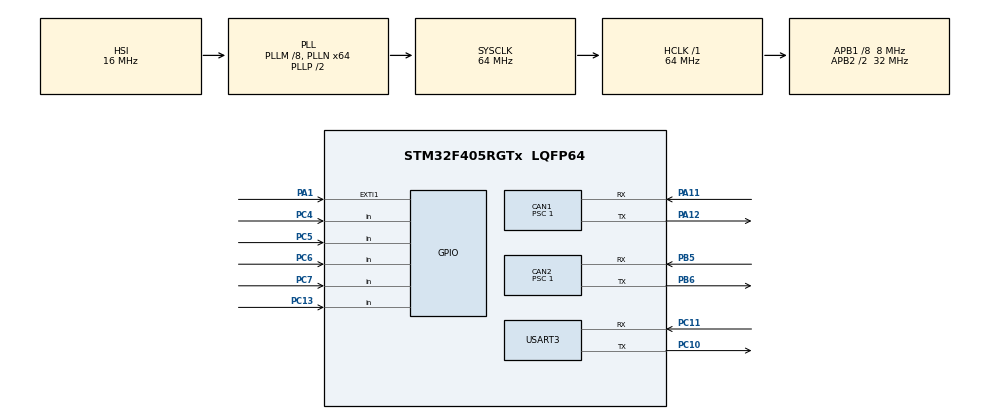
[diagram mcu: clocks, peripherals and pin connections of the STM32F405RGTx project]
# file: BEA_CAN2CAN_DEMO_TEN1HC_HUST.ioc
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CAN1.BS1=CAN_BS1_11TQ
CAN1.BS2=CAN_BS2_4TQ
CAN1.CalculateBaudRate=500000
CAN1.CalculateTimeBit=2000
CAN1.CalculateTimeQuantum=125.0
CAN1.Prescaler=1
CAN1.SJW=CAN_SJW_2TQ
CAN2.BS1=CAN_BS1_11TQ
CAN2.BS2=CAN_BS2_4TQ
CAN2.CalculateBaudRate=500000
CAN2.CalculateTimeBit=2000
CAN2.CalculateTimeQuantum=125.0
CAN2.Prescaler=1
CAN2.SJW=CAN_SJW_2TQ
Mcu.Family=STM32F4
Mcu.Name=STM32F405RGTx
Mcu.Package=LQFP64
NVIC.CAN1_RX0_IRQn=true\:2\:0\:true\:false\:true\:true\:true\:true
NVIC.CAN2_RX0_IRQn=true\:2\:0\:true\:false\:true\:true\:true\:true
NVIC.EXTI1_IRQn=true\:3\:0\:true\:false\:true\:true\:true\:true
NVIC.PriorityGroup=NVIC_PRIORITYGROUP_4
NVIC.USART3_IRQn=true\:1\:0\:true\:false\:true\:true\:true\:true
PA1.GPIO_ModeDefaultEXTI=GPIO_MODE_IT_FALLING
PA1.GPIO_PuPd=GPIO_PULLUP
PA1.Signal=GPXTI1
PA11.Mode=CAN_Activate
PA11.Signal=CAN1_RX
PA12.Mode=CAN_Activate
PA12.Signal=CAN1_TX
PB5.Mode=CAN_Activate
PB5.Signal=CAN2_RX
PB6.Mode=CAN_Activate
PB6.Signal=CAN2_TX
PC10.Mode=Asynchronous
PC10.Signal=USART3_TX
PC11.Mode=Asynchronous
PC11.Signal=USART3_RX
PC13-ANTI_TAMP.GPIO_PuPd=GPIO_PULLUP
PC13-ANTI_TAMP.Signal=GPIO_Input
PC4.GPIO_PuPd=GPIO_PULLUP
PC4.Signal=GPIO_Input
PC5.GPIO_PuPd=GPIO_PULLUP
PC5.Signal=GPIO_Input
PC6.GPIO_PuPd=GPIO_PULLUP
PC6.Signal=GPIO_Input
PC7.GPIO_PuPd=GPIO_PULLUP
PC7.Signal=GPIO_Input
PH0-OSC_IN.Mode=HSE-External-Oscillator
PH0-OSC_IN.Signal=RCC_OSC_IN
PH1-OSC_OUT.Mode=HSE-External-Oscillator
PH1-OSC_OUT.Signal=RCC_OSC_OUT
ProjectManager.HeapSize=0x200
ProjectManager.StackSize=0x400
ProjectManager.TargetToolchain=STM32CubeIDE
RCC.48MHZClocksFreq_Value=32000000
RCC.AHBFreq_Value=64000000
RCC.APB1CLKDivider=RCC_HCLK_DIV8
RCC.APB1Freq_Value=8000000
RCC.APB1TimFreq_Value=16000000
RCC.APB2CLKDivider=RCC_HCLK_DIV2
RCC.APB2Freq_Value=32000000
RCC.APB2TimFreq_Value=64000000
RCC.CortexFreq_Value=64000000
RCC.HCLKFreq_Value=64000000
RCC.HSE_VALUE=8000000
RCC.HSI_VALUE=16000000
RCC.LSE_VALUE=32768
RCC.PLLM=8
RCC.PLLN=64
RCC.SYSCLKFreq_VALUE=64000000
RCC.SYSCLKSource=RCC_SYSCLKSOURCE_PLLCLK
RCC.VCOOutputFreq_Value=128000000
USART3.VirtualMode=VM_ASYNC
board=custom

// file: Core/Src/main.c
/* USER CODE BEGIN Header */
/**
  ******************************************************************************
  * @file           : main.c
  * @brief          : Main program body
  ******************************************************************************
  * @attention
  *
  * Copyright (c) 2023 STMicroelectronics.
  * All rights reserved.
  *
  * This software is licensed under terms that can be found in the LICENSE file
  * in the root directory of this software component.
  * If no LICENSE file comes with this software, it is provided AS-IS.
  *
  ******************************************************************************
  */
/* USER CODE END Header */
#include "main.h"

UART_HandleTypeDef huart3;

/* USER CODE BEGIN PV */
uint8_t uart3_receive;

CAN_HandleTypeDef hcan1;
CAN_HandleTypeDef hcan2;
CAN_TxHeaderTypeDef CAN1_pHeader;
CAN_RxHeaderTypeDef CAN1_pHeaderRx;
CAN_FilterTypeDef CAN1_sFilterConfig;
CAN_TxHeaderTypeDef CAN2_pHeader;
CAN_RxHeaderTypeDef CAN2_pHeaderRx;
CAN_FilterTypeDef CAN2_sFilterConfig;
uint32_t CAN1_pTxMailbox;
uint32_t CAN2_pTxMailbox;

uint16_t NumBytesReq = 0;
uint8_t  REQ_BUFFER  [4096];
uint8_t  REQ_1BYTE_DATA;

uint8_t CAN1_DATA_TX[8] = {0x00,0x00,0x00,0x00,0x00,0x00,0x00,0x00};
uint8_t CAN1_DATA_RX[8] = {0x00,0x00,0x00,0x00,0x00,0x00,0x00,0x00};
uint8_t CAN2_DATA_TX[8] = {0x00,0x00,0x00,0x00,0x00,0x00,0x00,0x00};
uint8_t CAN2_DATA_RX[8] = {0x00,0x00,0x00,0x00,0x00,0x00,0x00,0x00};

unsigned int TimeStamp;
// maximum characters send out via UART is 30
char bufsend[30]="XXX: D1 D2 D3 D4 D5 D6 D7 D8  ";

uint8_t MessageCounter = 0;
uint8_t FlagForBtn = 0;
uint8_t flagCAN2Rx = 0;
/* USER CODE END PV */

void SystemClock_Config(void);
static void MX_GPIO_Init(void);
static void MX_CAN1_Init(void);
static void MX_CAN2_Init(void);
static void MX_USART3_UART_Init(void);
/* USER CODE BEGIN PFP */
void MX_CAN1_Setup();
void MX_CAN2_Setup();
void USART3_SendString(uint8_t *ch);
void PrintCANLog(uint16_t CANID, uint8_t * CAN_Frame);
void delay(uint16_t delay);
/* USER CODE END PFP */

/* USER CODE BEGIN 0 */
uint8_t calc_SAE_J1850(uint8_t data[], uint8_t crc_len, uint8_t check);
void CAN_Tx(CAN_HandleTypeDef *hcan, uint8_t *data_rx, uint8_t *data_tx);
void HAL_CAN_RxFifo0MsgPendingCallback(CAN_HandleTypeDef *hcan);
void HAL_GPIO_EXTI_Callback(uint16_t GPIO_Pin);
/* USER CODE END 0 */
int main(void)
{

  /* USER CODE BEGIN 1 */
	//uint16_t i,j = 0;
	//uint16_t Consecutive_Cntr = 0;
  /* USER CODE END 1 */

  /* MCU Configuration--------------------------------------------------------*/

  /* Reset of all peripherals, Initializes the Flash interface and the Systick. */
  HAL_Init();

  /* Configure the system clock */
  SystemClock_Config();

  /* Initialize all configured peripherals */
  MX_GPIO_Init();
  MX_CAN1_Init();
  MX_CAN2_Init();
  MX_USART3_UART_Init();
  /* USER CODE BEGIN 2 */
  MX_CAN1_Setup();
  MX_CAN2_Setup();
  __HAL_UART_ENABLE_IT(&huart3, UART_IT_RXNE);
  /* USER CODE END 2 */

  /* Infinite loop */
  /* USER CODE BEGIN WHILE */
  // Example Function to print can message via uart
  while (1)
  {
    /* USER CODE END WHILE */

    /* USER CODE BEGIN 3 */
	CAN_Tx(&hcan2, CAN2_DATA_RX, CAN2_DATA_TX);
	delay(2000);
	CAN_Tx(&hcan1, CAN1_DATA_RX, CAN1_DATA_TX);
	delay(1990);
	MessageCounter = MessageCounter + 1;
  }

  memset(&REQ_BUFFER,0x00,4096);
  NumBytesReq = 0;

  /* USER CODE END 3 */
}

void SystemClock_Config(void)
{
  RCC_OscInitTypeDef RCC_OscInitStruct = {0};
  RCC_ClkInitTypeDef RCC_ClkInitStruct = {0};

  /** Configure the main internal regulator output voltage
  */
  __HAL_RCC_PWR_CLK_ENABLE();
  __HAL_PWR_VOLTAGESCALING_CONFIG(PWR_REGULATOR_VOLTAGE_SCALE1);

  /** Initializes the RCC Oscillators according to the specified parameters
  * in the RCC_OscInitTypeDef structure.
  */
  RCC_OscInitStruct.OscillatorType = RCC_OSCILLATORTYPE_HSI;
  RCC_OscInitStruct.HSIState = RCC_HSI_ON;
  RCC_OscInitStruct.HSICalibrationValue = RCC_HSICALIBRATION_DEFAULT;
  RCC_OscInitStruct.PLL.PLLState = RCC_PLL_ON;
  RCC_OscInitStruct.PLL.PLLSource = RCC_PLLSOURCE_HSI;
  RCC_OscInitStruct.PLL.PLLM = 8;
  RCC_OscInitStruct.PLL.PLLN = 64;
  RCC_OscInitStruct.PLL.PLLP = RCC_PLLP_DIV2;
  RCC_OscInitStruct.PLL.PLLQ = 4;
  if (HAL_RCC_OscConfig(&RCC_OscInitStruct) != HAL_OK)
  {
    Error_Handler();
  }

  /** Initializes the CPU, AHB and APB buses clocks
  */
  RCC_ClkInitStruct.ClockType = RCC_CLOCKTYPE_HCLK|RCC_CLOCKTYPE_SYSCLK
                              |RCC_CLOCKTYPE_PCLK1|RCC_CLOCKTYPE_PCLK2;
  RCC_ClkInitStruct.SYSCLKSource = RCC_SYSCLKSOURCE_PLLCLK;
  RCC_ClkInitStruct.AHBCLKDivider = RCC_SYSCLK_DIV1;
  RCC_ClkInitStruct.APB1CLKDivider = RCC_HCLK_DIV8;
  RCC_ClkInitStruct.APB2CLKDivider = RCC_HCLK_DIV2;

  if (HAL_RCC_ClockConfig(&RCC_ClkInitStruct, FLASH_LATENCY_2) != HAL_OK)
  {
    Error_Handler();
  }
}

static void MX_CAN1_Init(void)
{

  /* USER CODE BEGIN CAN1_Init 0 */
	CAN1_pHeader.StdId = 0x12;
	CAN1_pHeader.DLC = 8;
	CAN1_pHeader.IDE = CAN_ID_STD;
	CAN1_pHeader.RTR = CAN_RTR_DATA;
  /* USER CODE END CAN1_Init 0 */

  hcan1.Instance = CAN1;
  hcan1.Init.Prescaler = 1;
  hcan1.Init.Mode = CAN_MODE_NORMAL;
  hcan1.Init.SyncJumpWidth = CAN_SJW_2TQ;
  hcan1.Init.TimeSeg1 = CAN_BS1_11TQ;
  hcan1.Init.TimeSeg2 = CAN_BS2_4TQ;
  hcan1.Init.TimeTriggeredMode = DISABLE;
  hcan1.Init.AutoBusOff = DISABLE;
  hcan1.Init.AutoWakeUp = DISABLE;
  hcan1.Init.AutoRetransmission = DISABLE;
  hcan1.Init.ReceiveFifoLocked = DISABLE;
  hcan1.Init.TransmitFifoPriority = DISABLE;
  if (HAL_CAN_Init(&hcan1) != HAL_OK)
  {
    Error_Handler();
  }
  /* USER CODE BEGIN CAN1_Init 2 */
  CAN1_sFilterConfig.FilterActivation = CAN_FILTER_ENABLE;
  CAN1_sFilterConfig.FilterFIFOAssignment = CAN_RX_FIFO0;
  CAN1_sFilterConfig.SlaveStartFilterBank = 13;
  CAN1_sFilterConfig.FilterBank = 8;
  CAN1_sFilterConfig.FilterMode = CAN_FILTERMODE_IDMASK;
  CAN1_sFilterConfig.FilterScale = CAN_FILTERSCALE_16BIT;
  CAN1_sFilterConfig.FilterIdHigh = 0x0A2 << 5;
  CAN1_sFilterConfig.FilterIdLow = 0;
  CAN1_sFilterConfig.FilterMaskIdHigh = 0x0A2 << 5;
  CAN1_sFilterConfig.FilterMaskIdLow = 0;
  /* USER CODE END CAN1_Init 2 */

}

static void MX_CAN2_Init(void)
{

  /* USER CODE BEGIN CAN2_Init 0 */
	CAN2_pHeader.StdId = 0xA2;
	CAN2_pHeader.DLC = 8;
	CAN2_pHeader.IDE = CAN_ID_STD;
	CAN2_pHeader.RTR = CAN_RTR_DATA;
  /* USER CODE END CAN2_Init 0 */

  hcan2.Instance = CAN2;
  hcan2.Init.Prescaler = 1;
  hcan2.Init.Mode = CAN_MODE_NORMAL;
  hcan2.Init.SyncJumpWidth = CAN_SJW_2TQ;
  hcan2.Init.TimeSeg1 = CAN_BS1_11TQ;
  hcan2.Init.TimeSeg2 = CAN_BS2_4TQ;
  hcan2.Init.TimeTriggeredMode = DISABLE;
  hcan2.Init.AutoBusOff = DISABLE;
  hcan2.Init.AutoWakeUp = DISABLE;
  hcan2.Init.AutoRetransmission = DISABLE;
  hcan2.Init.ReceiveFifoLocked = DISABLE;
  hcan2.Init.TransmitFifoPriority = DISABLE;
  if (HAL_CAN_Init(&hcan2) != HAL_OK)
  {
    Error_Handler();
  }
  /* USER CODE BEGIN CAN2_Init 2 */
  CAN2_sFilterConfig.FilterActivation = CAN_FILTER_ENABLE;
  CAN2_sFilterConfig.FilterFIFOAssignment = CAN_RX_FIFO0;
  CAN2_sFilterConfig.SlaveStartFilterBank = 13;
  CAN2_sFilterConfig.FilterBank = 19;
  CAN2_sFilterConfig.FilterMode = CAN_FILTERMODE_IDMASK;
  CAN2_sFilterConfig.FilterScale = CAN_FILTERSCALE_16BIT;
  CAN2_sFilterConfig.FilterIdHigh = 0x012 << 5;
  CAN2_sFilterConfig.FilterIdLow = 0;
  CAN2_sFilterConfig.FilterMaskIdHigh = 0x012 << 5;
  CAN2_sFilterConfig.FilterMaskIdLow = 0;
  /* USER CODE END CAN2_Init 2 */

}

static void MX_USART3_UART_Init(void)
{

  huart3.Instance = USART3;
  huart3.Init.BaudRate = 115200;
  huart3.Init.WordLength = UART_WORDLENGTH_8B;
  huart3.Init.StopBits = UART_STOPBITS_1;
  huart3.Init.Parity = UART_PARITY_NONE;
  huart3.Init.Mode = UART_MODE_TX_RX;
  huart3.Init.HwFlowCtl = UART_HWCONTROL_NONE;
  huart3.Init.OverSampling = UART_OVERSAMPLING_16;
  if (HAL_UART_Init(&huart3) != HAL_OK)
  {
    Error_Handler();
  }

}

static void MX_GPIO_Init(void)
{
  GPIO_InitTypeDef GPIO_InitStruct = {0};

  /* GPIO Ports Clock Enable */
  __HAL_RCC_GPIOC_CLK_ENABLE();
  __HAL_RCC_GPIOH_CLK_ENABLE();
  __HAL_RCC_GPIOA_CLK_ENABLE();
  __HAL_RCC_GPIOB_CLK_ENABLE();

  /*Configure GPIO pins : PC13 PC4 PC5 PC6
                           PC7 */
  GPIO_InitStruct.Pin = GPIO_PIN_13|GPIO_PIN_4|GPIO_PIN_5|GPIO_PIN_6
                          |GPIO_PIN_7;
  GPIO_InitStruct.Mode = GPIO_MODE_INPUT;
  GPIO_InitStruct.Pull = GPIO_PULLUP;
  HAL_GPIO_Init(GPIOC, &GPIO_InitStruct);

  /*Configure GPIO pin : PA1 */
  GPIO_InitStruct.Pin = GPIO_PIN_1;
  GPIO_InitStruct.Mode = GPIO_MODE_IT_FALLING;
  GPIO_InitStruct.Pull = GPIO_PULLUP;
  HAL_GPIO_Init(GPIOA, &GPIO_InitStruct);

  /* EXTI interrupt init*/
  HAL_NVIC_SetPriority(EXTI1_IRQn, 3, 0);
  HAL_NVIC_EnableIRQ(EXTI1_IRQn);

}

/* USER CODE BEGIN 4 */

void MX_CAN1_Setup()
{
	HAL_CAN_ConfigFilter(&hcan1, &CAN1_sFilterConfig);
	HAL_CAN_Start(&hcan1);
	HAL_CAN_ActivateNotification(&hcan1, CAN_IT_RX_FIFO0_MSG_PENDING);
}
void MX_CAN2_Setup()
{
	HAL_CAN_ConfigFilter(&hcan2, &CAN2_sFilterConfig);
	HAL_CAN_Start(&hcan2);
	HAL_CAN_ActivateNotification(&hcan2, CAN_IT_RX_FIFO0_MSG_PENDING);
}

void USART3_SendString(uint8_t *ch)
{
   while(*ch!=0)
   {
      HAL_UART_Transmit(&huart3, ch, 1,HAL_MAX_DELAY);
      ch++;
   }
}
void PrintCANLog(uint16_t CAN_ID, uint8_t * CAN_Frame)
{
	uint16_t loopIndx = 0;
		char bufID[3] = "   ";
		char bufDat[2] = "  ";
		char bufTime [8]="        ";

		sprintf(bufTime,"%d",TimeStamp);
		USART3_SendString((uint8_t*)bufTime);
		USART3_SendString((uint8_t*)" ");

		sprintf(bufID,"%03X",CAN_ID);
		for(loopIndx = 0; loopIndx < 3; loopIndx ++)
		{
			bufsend[loopIndx]  = bufID[loopIndx];
		}
		bufsend[3] = ':';
		bufsend[4] = ' ';

		for(loopIndx = 0; loopIndx < 8; loopIndx ++ )
		{
			sprintf(bufDat,"%02X",CAN_Frame[loopIndx]);
			bufsend[loopIndx*3 + 5] = bufDat[0];
			bufsend[loopIndx*3 + 6] = bufDat[1];
			bufsend[loopIndx*3 + 7] = ' ';
		}
		bufsend[29] = '\n';
		USART3_SendString((unsigned char*)bufsend);
}
void HAL_UART_RxCpltCallback(UART_HandleTypeDef *huart)
{
	REQ_BUFFER[NumBytesReq] = REQ_1BYTE_DATA;
	NumBytesReq++;
	//REQ_BUFFER[7] = NumBytesReq;
}
void delay(uint16_t delay)
{
	HAL_Delay(delay);
}
uint8_t calc_SAE_J1850(uint8_t data[], uint8_t crc_len, uint8_t check)
{
    uint8_t idx, crc, temp1, temp2, idy;
    crc = check;
    idx = 0;
    idy = 0;
    temp1 = 0;
    temp2 = 0;
    for(idx=0;idx < crc_len+1;idx++)
    {
        if(idx == 0)
        {
            temp1 = 0;
        }
        else
        {
            temp1 = data[crc_len-idx];
        }
        crc = (crc^temp1);
        for(idy=(uint8_t)8; idy>0; idy--)
        {
            // Save the value before the top bit is shifted out.
            temp2 = crc;
            crc <<= 1;
            if (0 != (temp2 & (uint8_t)128))
                crc ^= 0x1D;
        }
    }
    return crc;
}
void CAN_Tx(CAN_HandleTypeDef *hcan, uint8_t *data_rx, uint8_t *data_tx){

	if(flagCAN2Rx == 1){
		memcpy(CAN2_DATA_RX, CAN1_DATA_TX, 8*sizeof(uint8_t));
		flagCAN2Rx = 0;
	}
	if(((data_rx[7] == calc_SAE_J1850(data_rx,7,0)) && (FlagForBtn == 0)) || ((FlagForBtn == 1) && (hcan == &hcan1))){
		data_tx[0] = 0x0A;
		data_tx[1] = 0x02;
		if(data_rx == CAN1_DATA_RX){
			data_tx[2] = 0x0C;
		}
	}
	else{
		data_tx[0] = 0x00;
		data_tx[1] = 0x00;
	}
	data_tx[6] = MessageCounter;
	if(FlagForBtn == 0){
		data_tx[7] = calc_SAE_J1850(data_tx,7,0);
	}
	else{
		if(hcan == &hcan2) CAN2_DATA_TX[7] = calc_SAE_J1850(CAN2_DATA_TX,7,0);
	}
	char buffer[10];
	sprintf(buffer, "CAN %u TX\n", (hcan == &hcan1) ? 1 : 2);
	USART3_SendString((unsigned char *)buffer);
	uint8_t id = (hcan == &hcan1) ? 0x12 : 0xA2;
	PrintCANLog(id, data_tx);
	if(hcan == &hcan1){
		HAL_CAN_AddTxMessage(hcan, &CAN1_pHeader, data_tx, &CAN1_pTxMailbox);
	}
	else if(hcan == &hcan2){
		HAL_CAN_AddTxMessage(hcan, &CAN2_pHeader, data_tx, &CAN2_pTxMailbox);
	}
	MessageCounter = MessageCounter & 0xF;
}
void HAL_CAN_RxFifo0MsgPendingCallback(CAN_HandleTypeDef *hcan){
	if(hcan == &hcan1){
		HAL_CAN_GetRxMessage(&hcan1, CAN_RX_FIFO0, &CAN1_pHeaderRx, CAN1_DATA_RX);
		char buffer1[10] = "CAN 1 RX\n";
		USART3_SendString((unsigned char *)buffer1);
		PrintCANLog(0xA2, CAN1_DATA_RX);
	}
	else if(hcan == &hcan2){
		HAL_CAN_GetRxMessage(&hcan2, CAN_RX_FIFO0, &CAN2_pHeaderRx, CAN2_DATA_RX);
		if(CAN2_DATA_RX[7] == calc_SAE_J1850(CAN2_DATA_RX,7,0)){
			char buffer2[10] = "CAN 2 RX\n";
			USART3_SendString((unsigned char *)buffer2);
			PrintCANLog(0x12, CAN2_DATA_RX);
		}
		else{
			char buffer3[26] = "CAN 2 RX ERROR WRONG CRC\n";
			USART3_SendString((unsigned char *)buffer3);
		}
	}
}
void HAL_GPIO_EXTI_Callback(uint16_t GPIO_Pin)
{
	if(GPIO_Pin == GPIO_PIN_1)
	{
		delay(20);
		if(HAL_GPIO_ReadPin(GPIOA, GPIO_PIN_1) == GPIO_PIN_RESET)
		{
			switch(FlagForBtn)
			{
				case 0:
					FlagForBtn = FlagForBtn + 1;
					USART3_SendString((uint8_t *)"IG OFF\n");
					CAN1_DATA_TX[7] = calc_SAE_J1850(CAN1_DATA_TX,7,1);
					break;
				case 1:
					FlagForBtn = 0;
					USART3_SendString((uint8_t *)"-> IG ON\n");
					CAN1_DATA_TX[7] = calc_SAE_J1850(CAN1_DATA_TX,7,0);
					flagCAN2Rx = flagCAN2Rx +1;
					break;
				default:
					break;
			}
		}
	}
}
/* USER CODE END 4 */

void Error_Handler(void)
{
  __disable_irq();
  while (1)
  {
  }
}
